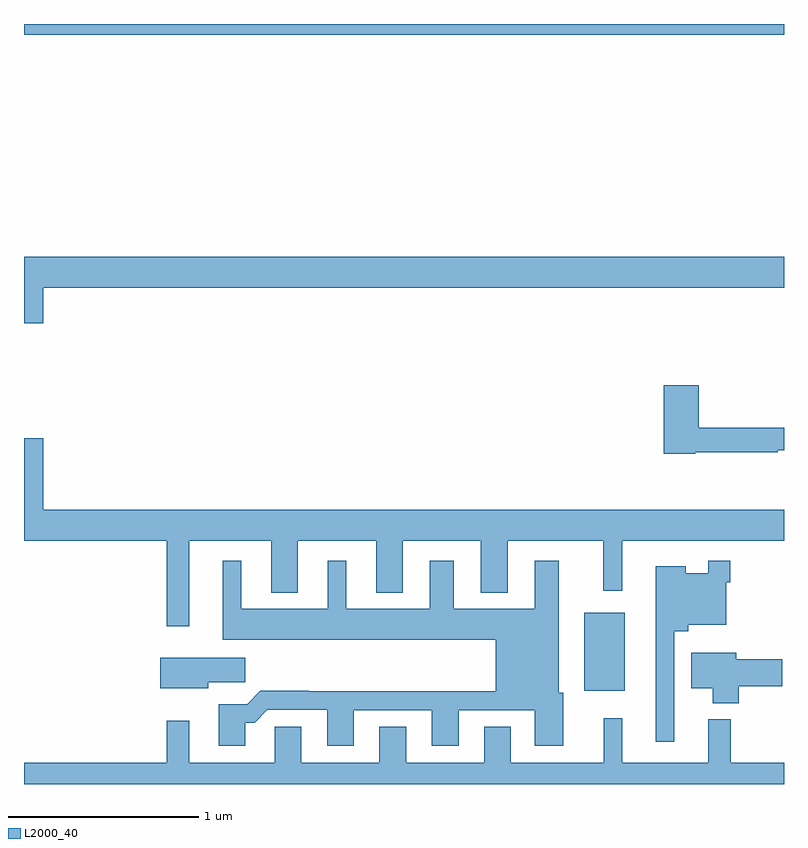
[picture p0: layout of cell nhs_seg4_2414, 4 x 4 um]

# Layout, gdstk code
import gdstk
lib = gdstk.Library(unit=1e-6, precision=1e-09)
def R(c, l, rs):  # rectangles x0, y0, x1, y1
    for r in rs: c.add(gdstk.rectangle(r[:2], r[2:], *l))
def P(c, l, *ps):  # polygons
    for p in ps: c.add(gdstk.Polygon(p, *l))
L2000_40 = (2000, 40)

nhs_seg4_2414 = lib.new_cell('nhs_seg4_2414')
R(nhs_seg4_2414, L2000_40, [(239.948,769.391,240.163,769.801), (237,772.844,241,772.9)])
P(nhs_seg4_2414, L2000_40, [(237.1,771.512),(241,771.512),(241,771.676),(237,771.676),(237,771.324),(237.1,771.324)],
  [(240.534,770.646),(240.968,770.646),(240.968,770.657),(241,770.657),(241,770.774),(240.551,770.774),(240.551,770.998),(240.368,770.998),(240.368,770.638),(240.534,770.638)],
  [(237.871,770.18),(238.301,770.18),(238.301,769.907),(238.441,769.907),(238.441,770.18),(238.853,770.18),(238.853,769.907),(238.993,769.907),(238.993,770.18),(239.405,770.18),(239.405,769.907),(239.545,769.907),(239.545,770.18),(240.049,770.18),(240.049,769.917),(240.148,769.917),(240.148,770.18),(241,770.18),(241,770.344),(237.1,770.344),(237.1,770.719),(237,770.719),(237,770.18),(237.75,770.18),(237.75,769.731),(237.871,769.731)],
  [(240.423,769.703),(240.497,769.703),(240.497,769.739),(240.696,769.739),(240.696,769.961),(240.716,769.961),(240.716,770.074),(240.6,770.074),(240.6,770.008),(240.484,770.008),(240.484,770.047),(240.326,770.047),(240.326,769.122),(240.423,769.122)],
  [(238.165,769.223),(238.214,769.223),(238.281,769.29),(238.595,769.29),(238.595,769.101),(238.735,769.101),(238.735,769.287),(239.147,769.287),(239.147,769.101),(239.287,769.101),(239.287,769.287),(239.687,769.287),(239.687,769.101),(239.839,769.101),(239.839,769.38),(239.815,769.38),(239.815,770.074),(239.687,770.074),(239.687,769.822),(239.263,769.822),(239.263,770.074),(239.135,770.074),(239.135,769.822),(238.696,769.822),(238.696,770.074),(238.598,770.074),(238.598,769.822),(238.144,769.822),(238.144,770.074),(238.046,770.074),(238.046,769.658),(239.483,769.658),(239.483,769.388),(238.499,769.388),(238.499,769.391),(238.244,769.391),(238.174,769.321),(238.025,769.321),(238.025,769.101),(238.165,769.101)],
  [(240.761,769.414),(240.991,769.414),(240.991,769.556),(240.748,769.556),(240.748,769.591),(240.512,769.591),(240.512,769.403),(240.626,769.403),(240.626,769.325),(240.761,769.325)],
  [(237.97,769.435),(238.165,769.435),(238.165,769.564),(237.716,769.564),(237.716,769.403),(237.97,769.403)],
  [(241,769.012),(240.719,769.012),(240.719,769.24),(240.602,769.24),(240.602,769.012),(240.149,769.012),(240.149,769.246),(240.05,769.246),(240.05,769.012),(239.563,769.012),(239.563,769.202),(239.423,769.202),(239.423,769.012),(239.011,769.012),(239.011,769.202),(238.871,769.202),(238.871,769.012),(238.459,769.012),(238.459,769.202),(238.32,769.202),(238.32,769.012),(237.871,769.012),(237.871,769.234),(237.75,769.234),(237.75,769.012),(237,769.012),(237,768.9),(241,768.9)])

lib.write_gds('nhs_seg4_2414.gds')
